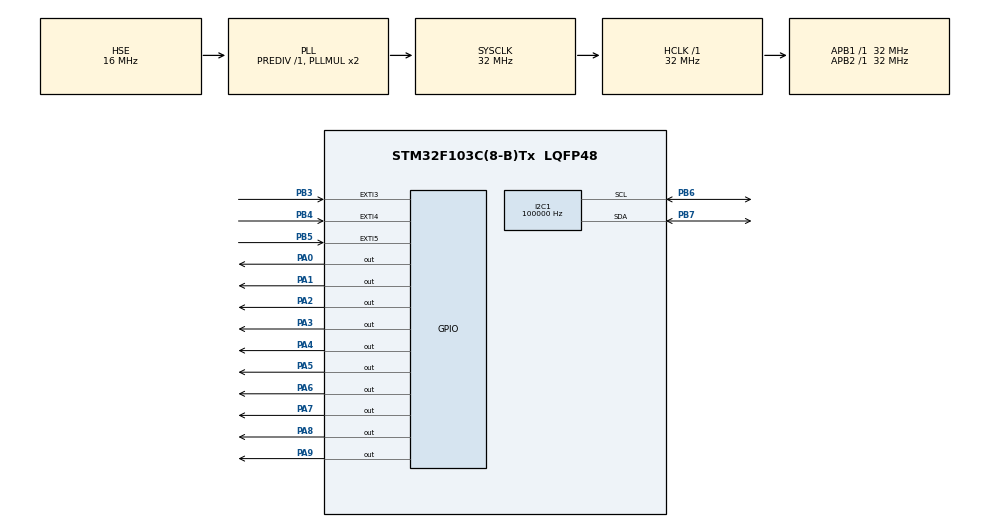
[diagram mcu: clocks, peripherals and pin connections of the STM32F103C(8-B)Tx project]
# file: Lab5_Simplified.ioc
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I2C1.ClockSpeed=100000
Mcu.Family=STM32F1
Mcu.Name=STM32F103C(8-B)Tx
Mcu.Package=LQFP48
NVIC.EXTI3_IRQn=true\:1\:0\:true\:false\:true\:true\:true\:true
NVIC.EXTI4_IRQn=true\:1\:0\:true\:false\:true\:true\:true\:true
NVIC.EXTI9_5_IRQn=true\:1\:0\:true\:false\:true\:true\:true\:true
NVIC.PriorityGroup=NVIC_PRIORITYGROUP_4
NVIC.TIM2_IRQn=true\:0\:0\:false\:false\:true\:true\:true\:true
NVIC.TIM3_IRQn=true\:0\:0\:false\:false\:true\:true\:true\:true
NVIC.TIM4_IRQn=true\:0\:0\:false\:false\:true\:true\:true\:true
PA0-WKUP.GPIO_PuPd=GPIO_PULLDOWN
PA0-WKUP.Signal=GPIO_Output
PA1.GPIO_PuPd=GPIO_PULLDOWN
PA1.Signal=GPIO_Output
PA13.Mode=Serial_Wire
PA13.Signal=SYS_JTMS-SWDIO
PA14.Mode=Serial_Wire
PA14.Signal=SYS_JTCK-SWCLK
PA2.GPIO_PuPd=GPIO_PULLDOWN
PA2.Signal=GPIO_Output
PA3.GPIO_PuPd=GPIO_PULLDOWN
PA3.Signal=GPIO_Output
PA4.GPIO_PuPd=GPIO_PULLDOWN
PA4.Signal=GPIO_Output
PA5.GPIO_PuPd=GPIO_PULLDOWN
PA5.Signal=GPIO_Output
PA6.GPIO_PuPd=GPIO_PULLDOWN
PA6.Signal=GPIO_Output
PA7.GPIO_PuPd=GPIO_PULLDOWN
PA7.Signal=GPIO_Output
PA8.GPIO_PuPd=GPIO_PULLDOWN
PA8.Signal=GPIO_Output
PA9.GPIO_PuPd=GPIO_PULLDOWN
PA9.Signal=GPIO_Output
PB3.GPIO_ModeDefaultEXTI=GPIO_MODE_IT_RISING_FALLING
PB3.GPIO_PuPd=GPIO_PULLDOWN
PB3.Signal=GPXTI3
PB4.GPIO_ModeDefaultEXTI=GPIO_MODE_IT_RISING_FALLING
PB4.GPIO_PuPd=GPIO_PULLDOWN
PB4.Signal=GPXTI4
PB5.GPIO_ModeDefaultEXTI=GPIO_MODE_IT_RISING_FALLING
PB5.GPIO_PuPd=GPIO_PULLDOWN
PB5.Signal=GPXTI5
PB6.Mode=I2C
PB6.Signal=I2C1_SCL
PB7.Mode=I2C
PB7.Signal=I2C1_SDA
PD0-OSC_IN.Mode=HSE-External-Oscillator
PD0-OSC_IN.Signal=RCC_OSC_IN
PD1-OSC_OUT.Mode=HSE-External-Oscillator
PD1-OSC_OUT.Signal=RCC_OSC_OUT
ProjectManager.HeapSize=0x200
ProjectManager.StackSize=0x400
ProjectManager.TargetToolchain=STM32CubeIDE
RCC.AHBFreq_Value=32000000
RCC.APB1Freq_Value=32000000
RCC.APB1TimFreq_Value=32000000
RCC.APB2Freq_Value=32000000
RCC.APB2TimFreq_Value=32000000
RCC.HCLKFreq_Value=32000000
RCC.HSE_VALUE=16000000
RCC.PLLSourceVirtual=RCC_PLLSOURCE_HSE
RCC.SYSCLKFreq_VALUE=32000000
RCC.SYSCLKSource=RCC_SYSCLKSOURCE_PLLCLK
RCC.USBFreq_Value=32000000
TIM2.Period=10000-100
TIM2.Prescaler=16000-1
TIM3.Period=5000-100
TIM3.Prescaler=16000-1
TIM4.Period=1000-100
TIM4.Prescaler=16000-1
VP_TIM2_VS_ClockSourceINT.Mode=Internal
VP_TIM3_VS_ClockSourceINT.Mode=Internal
VP_TIM4_VS_ClockSourceINT.Mode=Internal
board=custom

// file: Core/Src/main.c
/* USER CODE BEGIN Header */
/**
  ******************************************************************************
  * @file           : main.c
  * @brief          : Main program body
  ******************************************************************************
  * @attention
  *
  * Copyright (c) 2024 STMicroelectronics.
  * All rights reserved.
  *
  * This software is licensed under terms that can be found in the LICENSE file
  * in the root directory of this software component.
  * If no LICENSE file comes with this software, it is provided AS-IS.
  *
  ******************************************************************************
  */
/* USER CODE END Header */
#include "main.h"

/* USER CODE BEGIN Includes */
#include <stddef.h>
#include <string.h>
#include <stdint.h>
#include <stdlib.h>
#include <stdio.h>
#include <stdbool.h>
#include "liquidcrystal_i2c.h"
/* USER CODE END Includes */

/* USER CODE BEGIN PD */
// define states
#define Pgo 0
#define Wgo 1
#define Sgo 2
#define Wwait 3
#define Swait 4
#define Warn1 5
#define Off1 6
#define Warn2 7
#define Off2 8
#define Warn3 9
#define AllStop 10

//define colors
#define GREEN 1
#define YELLOW 2
#define WARN 3
#define ALLRED 4

/* USER CODE END PD */

I2C_HandleTypeDef hi2c1;

TIM_HandleTypeDef htim2;
TIM_HandleTypeDef htim3;
TIM_HandleTypeDef htim4;

/* USER CODE BEGIN PV */
const uint32_t greenDelay = 10000;
const uint32_t yellowDelay = 5000;
const uint32_t warnDelay = 1000;
const uint32_t redDelay = 180403;

/* USER CODE END PV */

void SystemClock_Config(void);
static void MX_GPIO_Init(void);
static void MX_TIM2_Init(void);
static void MX_TIM3_Init(void);
static void MX_TIM4_Init(void);
static void MX_I2C1_Init(void);
/* USER CODE BEGIN PFP */
static void TimerDelayMs(uint32_t time);
static void sendRemaningTime(uint8_t color, uint32_t time);
/* USER CODE END PFP */

/* USER CODE BEGIN 0 */

// Runs on STM32F103C8T6
// Use a table implementation of a Moore finite state machine to operate
// a traffic light.
// Truong Giang Nguyen
// Jan 10th, 2024
//
// walk button sensor connected to PB5 (1=button pressed)
// north facing car detector connected to PB4 (1=car present)
// east facing car detector connected to PB3 (1=car present)
//
// east facing red light connected to PA8
// east facing yellow light connected to PA7
// east facing green light connected to PA6
// north facing red light connected to PA5
// north facing yellow light connected to PA4
// north facing green light connected to PA3
// walk blue light connected to PA2
// walk green light connected to PA1
// walk red light connected to PA0

struct State {
	uint32_t out;
	unsigned long wait;
	uint32_t next[8]; //Index of the state
};
typedef const struct State Stype;

Stype fsm[11] = {
		// Pgo
		{0x127, greenDelay, {Warn1,	Warn1,	Warn1,	Warn1,	Pgo,	Warn1,	Warn1,	Warn1}},
		// Wgo
		{0x61, greenDelay, {Wwait,	Wgo,	Wwait,	Wwait,	Wwait,	Wwait,	Wwait,	Wwait}},
		// Sgo
		{0x109, greenDelay, {Swait,	Swait,	Sgo,	Swait,	Swait,	Swait,	Swait,	Swait}},
		// Wwait
		{0xA1, yellowDelay, {AllStop,	Wgo,	Sgo,	Sgo,	Pgo,	Pgo,	Pgo,	Pgo}},
		// Swait
		{0x111, yellowDelay, {AllStop,	Wgo,	Sgo,	Wgo,	Pgo,	Wgo,	Pgo,	Wgo}},
		// Warn1
		{0x127, warnDelay, {Off1,	Off1,	Off1,	Off1,	Off1,	Off1,	Off1,	Off1}},
		// Off1
		{0x121, warnDelay, {Warn2,	Warn2,	Warn2,	Warn2,	Warn2,	Warn2,	Warn2,	Warn2}},
		// Warn2
		{0x120, warnDelay, {Off2,	Off2,	Off2,	Off2,	Off2,	Off2,	Off2,	Off2}},
		// Off2
		{0x121, warnDelay, {Warn3,	Warn3,	Warn3,	Warn3,	Warn3,	Warn3,	Warn3,	Warn3}},
		// Warn3
		{0x120, warnDelay, {AllStop,	Wgo,	Sgo,	Sgo,	Pgo,	Wgo,	Sgo,	Sgo}},
		// AllStop
		{0x121, redDelay, {AllStop,	Wgo,	Sgo,	Sgo,	Pgo,	Wgo,	Sgo,	Sgo}}
};

uint16_t S;
uint32_t Input = 0xFF;
bool checkWalk = 0;
bool checkSouth = 0;
bool checkWest = 0;
bool checkGPIO = 0;
uint8_t inputValue = 0;
uint32_t greenEnd = 0;
uint32_t yellowEnd = 0;
uint32_t warnEnd = 0;
uint32_t greenEnds = 0;
uint32_t yellowEnds = 0;
uint32_t warnEnds = 0;
uint32_t count1 = 0;
uint32_t count2 = 0;
uint16_t greenCNT = 0;
uint16_t yellowCNT = 0;
uint16_t warnCNT = 0;
uint32_t warnTime = 0;
char lcdCNT[50];

/* USER CODE END 0 */

int main(void)
{

  /* MCU Configuration--------------------------------------------------------*/

  /* Reset of all peripherals, Initializes the Flash interface and the Systick. */
  HAL_Init();

  /* Configure the system clock */
  SystemClock_Config();

  /* Initialize all configured peripherals */
  MX_GPIO_Init();
  MX_TIM2_Init();
  MX_TIM3_Init();
  MX_TIM4_Init();
  MX_I2C1_Init();
  /* USER CODE BEGIN 2 */
  HD44780_Init(2);
  HD44780_Clear();
  S = AllStop;
  while(1) {
	  //
	  TIM2->CNT = 0;
	  TIM3->CNT = 0;
	  TIM4->CNT = 0;
	  // set output
//	  GPIOA->ODR = (fsm[S].out);
	  GPIOA->ODR = (fsm[S].out)|((fsm[S].out & 0x100)<<1);
	  // delay
	  TimerDelayMs(fsm[S].wait);
	  //read input
	  Input = inputValue;
	  //S = next state
	  S = fsm[S].next[Input];
  }
  /* USER CODE END 2 */
}

void SystemClock_Config(void)
{
  RCC_OscInitTypeDef RCC_OscInitStruct = {0};
  RCC_ClkInitTypeDef RCC_ClkInitStruct = {0};

  /** Initializes the RCC Oscillators according to the specified parameters
  * in the RCC_OscInitTypeDef structure.
  */
  RCC_OscInitStruct.OscillatorType = RCC_OSCILLATORTYPE_HSE;
  RCC_OscInitStruct.HSEState = RCC_HSE_ON;
  RCC_OscInitStruct.HSEPredivValue = RCC_HSE_PREDIV_DIV1;
  RCC_OscInitStruct.HSIState = RCC_HSI_ON;
  RCC_OscInitStruct.PLL.PLLState = RCC_PLL_ON;
  RCC_OscInitStruct.PLL.PLLSource = RCC_PLLSOURCE_HSE;
  RCC_OscInitStruct.PLL.PLLMUL = RCC_PLL_MUL2;
  if (HAL_RCC_OscConfig(&RCC_OscInitStruct) != HAL_OK)
  {
    Error_Handler();
  }

  /** Initializes the CPU, AHB and APB buses clocks
  */
  RCC_ClkInitStruct.ClockType = RCC_CLOCKTYPE_HCLK|RCC_CLOCKTYPE_SYSCLK
                              |RCC_CLOCKTYPE_PCLK1|RCC_CLOCKTYPE_PCLK2;
  RCC_ClkInitStruct.SYSCLKSource = RCC_SYSCLKSOURCE_PLLCLK;
  RCC_ClkInitStruct.AHBCLKDivider = RCC_SYSCLK_DIV1;
  RCC_ClkInitStruct.APB1CLKDivider = RCC_HCLK_DIV1;
  RCC_ClkInitStruct.APB2CLKDivider = RCC_HCLK_DIV1;

  if (HAL_RCC_ClockConfig(&RCC_ClkInitStruct, FLASH_LATENCY_1) != HAL_OK)
  {
    Error_Handler();
  }
}

static void MX_I2C1_Init(void)
{

  hi2c1.Instance = I2C1;
  hi2c1.Init.ClockSpeed = 100000;
  hi2c1.Init.DutyCycle = I2C_DUTYCYCLE_2;
  hi2c1.Init.OwnAddress1 = 0;
  hi2c1.Init.AddressingMode = I2C_ADDRESSINGMODE_7BIT;
  hi2c1.Init.DualAddressMode = I2C_DUALADDRESS_DISABLE;
  hi2c1.Init.OwnAddress2 = 0;
  hi2c1.Init.GeneralCallMode = I2C_GENERALCALL_DISABLE;
  hi2c1.Init.NoStretchMode = I2C_NOSTRETCH_DISABLE;
  if (HAL_I2C_Init(&hi2c1) != HAL_OK)
  {
    Error_Handler();
  }

}

static void MX_TIM2_Init(void)
{

  TIM_ClockConfigTypeDef sClockSourceConfig = {0};
  TIM_MasterConfigTypeDef sMasterConfig = {0};

  htim2.Instance = TIM2;
  htim2.Init.Prescaler = 16000-1;
  htim2.Init.CounterMode = TIM_COUNTERMODE_UP;
  htim2.Init.Period = 10000-100;
  htim2.Init.ClockDivision = TIM_CLOCKDIVISION_DIV1;
  htim2.Init.AutoReloadPreload = TIM_AUTORELOAD_PRELOAD_DISABLE;
  if (HAL_TIM_Base_Init(&htim2) != HAL_OK)
  {
    Error_Handler();
  }
  sClockSourceConfig.ClockSource = TIM_CLOCKSOURCE_INTERNAL;
  if (HAL_TIM_ConfigClockSource(&htim2, &sClockSourceConfig) != HAL_OK)
  {
    Error_Handler();
  }
  sMasterConfig.MasterOutputTrigger = TIM_TRGO_RESET;
  sMasterConfig.MasterSlaveMode = TIM_MASTERSLAVEMODE_DISABLE;
  if (HAL_TIMEx_MasterConfigSynchronization(&htim2, &sMasterConfig) != HAL_OK)
  {
    Error_Handler();
  }

}

static void MX_TIM3_Init(void)
{

  TIM_ClockConfigTypeDef sClockSourceConfig = {0};
  TIM_MasterConfigTypeDef sMasterConfig = {0};

  htim3.Instance = TIM3;
  htim3.Init.Prescaler = 16000-1;
  htim3.Init.CounterMode = TIM_COUNTERMODE_UP;
  htim3.Init.Period = 5000-100;
  htim3.Init.ClockDivision = TIM_CLOCKDIVISION_DIV1;
  htim3.Init.AutoReloadPreload = TIM_AUTORELOAD_PRELOAD_DISABLE;
  if (HAL_TIM_Base_Init(&htim3) != HAL_OK)
  {
    Error_Handler();
  }
  sClockSourceConfig.ClockSource = TIM_CLOCKSOURCE_INTERNAL;
  if (HAL_TIM_ConfigClockSource(&htim3, &sClockSourceConfig) != HAL_OK)
  {
    Error_Handler();
  }
  sMasterConfig.MasterOutputTrigger = TIM_TRGO_RESET;
  sMasterConfig.MasterSlaveMode = TIM_MASTERSLAVEMODE_DISABLE;
  if (HAL_TIMEx_MasterConfigSynchronization(&htim3, &sMasterConfig) != HAL_OK)
  {
    Error_Handler();
  }

}

static void MX_TIM4_Init(void)
{

  TIM_ClockConfigTypeDef sClockSourceConfig = {0};
  TIM_MasterConfigTypeDef sMasterConfig = {0};

  htim4.Instance = TIM4;
  htim4.Init.Prescaler = 16000-1;
  htim4.Init.CounterMode = TIM_COUNTERMODE_UP;
  htim4.Init.Period = 1000-100;
  htim4.Init.ClockDivision = TIM_CLOCKDIVISION_DIV1;
  htim4.Init.AutoReloadPreload = TIM_AUTORELOAD_PRELOAD_DISABLE;
  if (HAL_TIM_Base_Init(&htim4) != HAL_OK)
  {
    Error_Handler();
  }
  sClockSourceConfig.ClockSource = TIM_CLOCKSOURCE_INTERNAL;
  if (HAL_TIM_ConfigClockSource(&htim4, &sClockSourceConfig) != HAL_OK)
  {
    Error_Handler();
  }
  sMasterConfig.MasterOutputTrigger = TIM_TRGO_RESET;
  sMasterConfig.MasterSlaveMode = TIM_MASTERSLAVEMODE_DISABLE;
  if (HAL_TIMEx_MasterConfigSynchronization(&htim4, &sMasterConfig) != HAL_OK)
  {
    Error_Handler();
  }

}

static void MX_GPIO_Init(void)
{
  GPIO_InitTypeDef GPIO_InitStruct = {0};

  /* GPIO Ports Clock Enable */
  __HAL_RCC_GPIOD_CLK_ENABLE();
  __HAL_RCC_GPIOA_CLK_ENABLE();
  __HAL_RCC_GPIOB_CLK_ENABLE();

  /*Configure GPIO pin Output Level */
  HAL_GPIO_WritePin(GPIOA, GPIO_PIN_0|GPIO_PIN_1|GPIO_PIN_2|GPIO_PIN_3
                          |GPIO_PIN_4|GPIO_PIN_5|GPIO_PIN_6|GPIO_PIN_7
                          |GPIO_PIN_8|GPIO_PIN_9, GPIO_PIN_RESET);

  /*Configure GPIO pins : PA0 PA1 PA2 PA3
                           PA4 PA5 PA6 PA7
                           PA8 PA9 */
  GPIO_InitStruct.Pin = GPIO_PIN_0|GPIO_PIN_1|GPIO_PIN_2|GPIO_PIN_3
                          |GPIO_PIN_4|GPIO_PIN_5|GPIO_PIN_6|GPIO_PIN_7
                          |GPIO_PIN_8|GPIO_PIN_9;
  GPIO_InitStruct.Mode = GPIO_MODE_OUTPUT_PP;
  GPIO_InitStruct.Pull = GPIO_PULLDOWN;
  GPIO_InitStruct.Speed = GPIO_SPEED_FREQ_LOW;
  HAL_GPIO_Init(GPIOA, &GPIO_InitStruct);

  /*Configure GPIO pins : PB3 PB4 PB5 */
  GPIO_InitStruct.Pin = GPIO_PIN_3|GPIO_PIN_4|GPIO_PIN_5;
  GPIO_InitStruct.Mode = GPIO_MODE_IT_RISING_FALLING;
  GPIO_InitStruct.Pull = GPIO_PULLDOWN;
  HAL_GPIO_Init(GPIOB, &GPIO_InitStruct);

  /* EXTI interrupt init*/
  HAL_NVIC_SetPriority(EXTI3_IRQn, 1, 0);
  HAL_NVIC_EnableIRQ(EXTI3_IRQn);

  HAL_NVIC_SetPriority(EXTI4_IRQn, 1, 0);
  HAL_NVIC_EnableIRQ(EXTI4_IRQn);

  HAL_NVIC_SetPriority(EXTI9_5_IRQn, 1, 0);
  HAL_NVIC_EnableIRQ(EXTI9_5_IRQn);

}

/* USER CODE BEGIN 4 */

static void sendRemaningTime(uint8_t color, uint32_t time) {
	count1 = time;
	greenCNT = TIM2->CNT;
	yellowCNT = TIM3->CNT;
	warnCNT = TIM4->CNT;
	time /= 1000;
	count2 = time;

	switch(color)
	{
	case 1: // green
		HD44780_Clear();
		HD44780_SetCursor(14,0);
		sprintf(lcdCNT,"%02ld", time+greenEnd*10);
		HD44780_PrintStr(lcdCNT);
		break;
	case 2: // yellow
		HD44780_Clear();
		HD44780_SetCursor(7,0);
		sprintf(lcdCNT,"%02ld", time);
		HD44780_PrintStr(lcdCNT);
//		HD44780_PrintStr("Hello World");
		break;
	case 3: // warn
		HD44780_Clear();
		HD44780_SetCursor(7,0);
		if(warnEnds == 1) {
			sprintf(lcdCNT,"%02ld", warnTime);
			HD44780_PrintStr(lcdCNT);
			warnTime = 1;
			break;
		} else if (warnEnds == 2) {
			sprintf(lcdCNT,"%02ld", warnTime);
			HD44780_PrintStr(lcdCNT);
			warnTime = 2;
			break;
		} else if (warnEnds == 3) {
			sprintf(lcdCNT,"%02ld", warnTime);
			HD44780_PrintStr(lcdCNT);
			warnTime = 3;
			break;
		} else if (warnEnds == 4) {
			sprintf(lcdCNT,"%02ld", warnTime);
			HD44780_PrintStr(lcdCNT);
			warnTime = 4;
			break;
		} else if (warnEnds == 5) {
			sprintf(lcdCNT,"%02ld", warnTime);
			HD44780_PrintStr(lcdCNT);
			warnTime = 0;
			break;
		} else {
			sprintf(lcdCNT,"%02ld", warnTime);
			HD44780_PrintStr("00");
			warnTime = 0;
			break;
		}
		break;
	case 4: // allRed
		HD44780_Clear();
		HD44780_SetCursor(0,0);
		HD44780_PrintStr("00");
	}
}

static void TimerDelayMs(uint32_t time) {
	bool jumpToMain = 0;
	switch (time)
	{
	case 10000: // green
		warnEnds = 0;
		if(greenEnd == 0) {
			HAL_TIM_Base_Start_IT(&htim2);
			if(greenEnds == 0) {
				greenEnds ++;
				greenEnd = 0;
			}
			while(1) {
				sendRemaningTime(GREEN, TIM2->CNT);
				if(greenEnd == 1) {
					greenCNT = TIM2->CNT;
//					count1++;
					jumpToMain = 1;
					HAL_TIM_Base_Stop_IT(&htim2);
					break;
				}
			}
		}
		if((greenEnd >= 1 ) && (jumpToMain == 0)) {
//			count2++;
			HAL_TIM_Base_Start_IT(&htim2);
			uint32_t nextGreenEnd = greenEnd + 1;
			uint8_t inputCompare = inputValue;
			while(1) {
				sendRemaningTime(GREEN, TIM2->CNT);
				if((greenEnd == nextGreenEnd) || (inputCompare != inputValue)) {
					HAL_TIM_Base_Stop_IT(&htim2);
					break;
				}
			}
		}
		break;
	case 180403: // all red
		greenEnds = 0;
		yellowEnds = 0;
		warnEnds = 0;
		greenEnd = 0;
		yellowEnd = 0;
		warnEnd = 0;
		while(1) {
			sendRemaningTime(ALLRED, 180403);
			if(checkGPIO == 1) {
				break;
			}
		}
	break;
	case 5000: // yellow
		yellowEnd = 0;
		greenEnd = 0;
		greenEnds = 0;
		warnEnd = 0;
		warnEnds = 0;
		HAL_TIM_Base_Start_IT(&htim3);
		yellowEnd = 0;
		while(1) {
			sendRemaningTime(YELLOW, TIM3->CNT);
			if(yellowEnd == 1) {
				HAL_TIM_Base_Stop_IT(&htim3);
				break;
			}
		}
	case 1000: // warn
		warnEnd = 0;
		greenEnd = 0;
		greenEnds = 0;
		HAL_TIM_Base_Start_IT(&htim4);
//		warnEnds = 0;
		while(1) {
			sendRemaningTime(WARN, TIM4->CNT);
			warnCNT = TIM4->CNT;
			if(warnEnd == 1) {
				HAL_TIM_Base_Stop_IT(&htim4);
				break;
			}
		}
		break;
	default:
		break;
	}
}

void HAL_TIM_PeriodElapsedCallback(TIM_HandleTypeDef *htim) {
    if (htim->Instance == TIM2) {
        greenEnd += 1;
    }
    if (htim->Instance == TIM3) {
    	yellowEnd += 1;
    }
    if (htim->Instance == TIM4) {
    	warnEnd += 1;
    	warnEnds += 1;
    	if(warnEnds >= 6) {
    		warnEnds = 0;
    	}
    }
}

void HAL_GPIO_EXTI_Callback(uint16_t GPIO_Pin) {
    if (GPIO_Pin == GPIO_PIN_5) { // Walk button
        if (HAL_GPIO_ReadPin(GPIOB, GPIO_PIN_5) == GPIO_PIN_SET) {
            // Rising edge (button released)
            checkWalk = 1;
        } else {
            // Falling edge (button pressed)
            checkWalk = 0;
        }
    }
    if (GPIO_Pin == GPIO_PIN_4) { // Walk button
        if (HAL_GPIO_ReadPin(GPIOB, GPIO_PIN_4) == GPIO_PIN_SET) {
            // Rising edge (button released)
            checkSouth = 1;
        } else {
            // Falling edge (button pressed)
            checkSouth = 0;
        }
    }
    if (GPIO_Pin == GPIO_PIN_3) { // Walk button
        if (HAL_GPIO_ReadPin(GPIOB, GPIO_PIN_3) == GPIO_PIN_SET) {
            // Rising edge (button released)
            checkWest = 1;
        } else {
            // Falling edge (button pressed)
            checkWest = 0;
        }
    }
    inputValue = (checkWalk << 2) | (checkSouth << 1) | (checkWest << 0);
    checkGPIO = checkWalk | checkSouth |  checkWest;
}

/* USER CODE END 4 */

void Error_Handler(void)
{
  __disable_irq();
  while (1)
  {
  }
}
